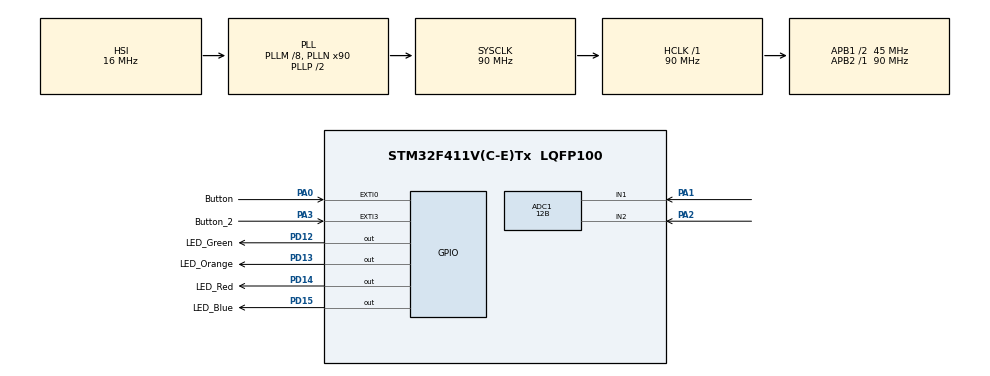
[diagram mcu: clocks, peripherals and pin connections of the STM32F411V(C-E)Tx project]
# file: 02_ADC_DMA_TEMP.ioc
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ADC1.Channel-0\#ChannelRegularConversion=ADC_CHANNEL_TEMPSENSOR
ADC1.Channel-1\#ChannelRegularConversion=ADC_CHANNEL_1
ADC1.Channel-2\#ChannelRegularConversion=ADC_CHANNEL_2
ADC1.ClockPrescaler=ADC_CLOCK_SYNC_PCLK_DIV8
ADC1.ContinuousConvMode=ENABLE
ADC1.DMAContinuousRequests=ENABLE
ADC1.DataAlign=ADC_DATAALIGN_RIGHT
ADC1.DiscontinuousConvMode=DISABLE
ADC1.EOCSelection=ADC_EOC_SINGLE_CONV
ADC1.EnableAnalogWatchDog=false
ADC1.ExternalTrigConv=ADC_SOFTWARE_START
ADC1.ExternalTrigConvEdge=ADC_EXTERNALTRIGCONVEDGE_NONE
ADC1.InjNumberOfConversion=0
ADC1.NbrOfConversion=3
ADC1.NbrOfConversionFlag=1
ADC1.Rank-0\#ChannelRegularConversion=1
ADC1.Rank-1\#ChannelRegularConversion=2
ADC1.Rank-2\#ChannelRegularConversion=3
ADC1.Resolution=ADC_RESOLUTION_12B
ADC1.SamplingTime-0\#ChannelRegularConversion=ADC_SAMPLETIME_480CYCLES
ADC1.SamplingTime-1\#ChannelRegularConversion=ADC_SAMPLETIME_480CYCLES
ADC1.SamplingTime-2\#ChannelRegularConversion=ADC_SAMPLETIME_480CYCLES
ADC1.ScanConvMode=ENABLE
ADC1.master=1
Dma.ADC1.0.Direction=DMA_PERIPH_TO_MEMORY
Dma.ADC1.0.FIFOMode=DMA_FIFOMODE_DISABLE
Dma.ADC1.0.Instance=DMA2_Stream0
Dma.ADC1.0.MemDataAlignment=DMA_MDATAALIGN_HALFWORD
Dma.ADC1.0.MemInc=DMA_MINC_ENABLE
Dma.ADC1.0.Mode=DMA_CIRCULAR
Dma.ADC1.0.PeriphDataAlignment=DMA_PDATAALIGN_HALFWORD
Dma.ADC1.0.PeriphInc=DMA_PINC_DISABLE
Dma.ADC1.0.Priority=DMA_PRIORITY_LOW
Dma.Request0=ADC1
Mcu.Family=STM32F4
Mcu.Name=STM32F411V(C-E)Tx
Mcu.Package=LQFP100
NVIC.DMA2_Stream0_IRQn=true\:0\:0\:false\:false\:true
NVIC.EXTI0_IRQn=true\:0\:0\:false\:false\:true
NVIC.EXTI3_IRQn=true\:0\:0\:false\:false\:true
NVIC.PriorityGroup=NVIC_PRIORITYGROUP_4
NVIC.TIM1_UP_TIM10_IRQn=true\:0\:0\:false\:false\:true
PA0-WKUP.GPIO_Label=Button
PA0-WKUP.GPIO_ModeDefaultEXTI=GPIO_MODE_IT_FALLING
PA0-WKUP.Signal=GPXTI0
PA1.Signal=ADCx_IN1
PA2.Signal=ADCx_IN2
PA3.GPIO_Label=Button_2
PA3.GPIO_ModeDefaultEXTI=GPIO_MODE_IT_FALLING
PA3.Signal=GPXTI3
PD12.GPIO_Label=LED_Green
PD12.Signal=GPIO_Output
PD13.GPIO_Label=LED_Orange
PD13.Signal=GPIO_Output
PD14.GPIO_Label=LED_Red
PD14.Signal=GPIO_Output
PD15.GPIO_Label=LED_Blue
PD15.Signal=GPIO_Output
PH0\ -\ OSC_IN.Mode=HSE-External-Oscillator
PH0\ -\ OSC_IN.Signal=RCC_OSC_IN
PH1\ -\ OSC_OUT.Mode=HSE-External-Oscillator
PH1\ -\ OSC_OUT.Signal=RCC_OSC_OUT
ProjectManager.HeapSize=0x200
ProjectManager.StackSize=0x400
ProjectManager.TargetToolchain=SW4STM32
RCC.48MHZClocksFreq_Value=45000000
RCC.AHBFreq_Value=90000000
RCC.APB1CLKDivider=RCC_HCLK_DIV2
RCC.APB1Freq_Value=45000000
RCC.APB1TimFreq_Value=90000000
RCC.APB2Freq_Value=90000000
RCC.APB2TimFreq_Value=90000000
RCC.CortexFreq_Value=90000000
RCC.HCLKFreq_Value=90000000
RCC.HSE_VALUE=8000000
RCC.HSI_VALUE=16000000
RCC.LSE_VALUE=32768
RCC.PLLM=8
RCC.PLLN=90
RCC.SYSCLKFreq_VALUE=90000000
RCC.SYSCLKSource=RCC_SYSCLKSOURCE_PLLCLK
RCC.VCOOutputFreq_Value=180000000
SH.ADCx_IN1.0=ADC1_IN1,IN1
SH.ADCx_IN2.0=ADC1_IN2,IN2
TIM10.Period=9999
TIM10.Prescaler=2999
VP_ADC1_TempSens_Input.Mode=IN-TempSens
VP_TIM10_VS_ClockSourceINT.Mode=Enable_Timer
board=02_ADC_DMA_TEMP

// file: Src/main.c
/**
  ******************************************************************************
  * File Name          : main.c
  * Description        : Main program body
  ******************************************************************************
  *
  * COPYRIGHT(c) 2017 STMicroelectronics
  *
  * Redistribution and use in source and binary forms, with or without modification,
  * are permitted provided that the following conditions are met:
  *   1. Redistributions of source code must retain the above copyright notice,
  *      this list of conditions and the following disclaimer.
  *   2. Redistributions in binary form must reproduce the above copyright notice,
  *      this list of conditions and the following disclaimer in the documentation
  *      and/or other materials provided with the distribution.
  *   3. Neither the name of STMicroelectronics nor the names of its contributors
  *      may be used to endorse or promote products derived from this software
  *      without specific prior written permission.
  *
  * THIS SOFTWARE IS PROVIDED BY THE COPYRIGHT HOLDERS AND CONTRIBUTORS "AS IS"
  * AND ANY EXPRESS OR IMPLIED WARRANTIES, INCLUDING, BUT NOT LIMITED TO, THE
  * IMPLIED WARRANTIES OF MERCHANTABILITY AND FITNESS FOR A PARTICULAR PURPOSE ARE
  * DISCLAIMED. IN NO EVENT SHALL THE COPYRIGHT HOLDER OR CONTRIBUTORS BE LIABLE
  * FOR ANY DIRECT, INDIRECT, INCIDENTAL, SPECIAL, EXEMPLARY, OR CONSEQUENTIAL
  * DAMAGES (INCLUDING, BUT NOT LIMITED TO, PROCUREMENT OF SUBSTITUTE GOODS OR
  * SERVICES; LOSS OF USE, DATA, OR PROFITS; OR BUSINESS INTERRUPTION) HOWEVER
  * CAUSED AND ON ANY THEORY OF LIABILITY, WHETHER IN CONTRACT, STRICT LIABILITY,
  * OR TORT (INCLUDING NEGLIGENCE OR OTHERWISE) ARISING IN ANY WAY OUT OF THE USE
  * OF THIS SOFTWARE, EVEN IF ADVISED OF THE POSSIBILITY OF SUCH DAMAGE.
  *
  ******************************************************************************
  */
#include "main.h"
#include "stm32f4xx_hal.h"

ADC_HandleTypeDef hadc1;
DMA_HandleTypeDef hdma_adc1;

TIM_HandleTypeDef htim10;

/* USER CODE BEGIN PV */
/* Private variables ---------------------------------------------------------*/
uint8_t ALARM=0;  	// przekroczenie 30*C
uint8_t BUTTON=0; 	// przycisk na plytce
uint8_t BUTTON2=0;	// przyciska Joystick
uint16_t PomiarADC[3];
float Temperature;
float Vsense;

const float V25 = 0.76; // [Volts]
const float Avg_slope = 0.0025; //[Volts/degree]
const float SupplyVoltage = 3.0; // [Volts]
const float ADCResolution = 4096.0;
/* USER CODE END PV */

void SystemClock_Config(void);
void Error_Handler(void);
static void MX_GPIO_Init(void);
static void MX_DMA_Init(void);
static void MX_ADC1_Init(void);
static void MX_TIM10_Init(void);

/* USER CODE BEGIN PFP */
/* Private function prototypes -----------------------------------------------*/
void HAL_ADC_ConvCpltCallback(ADC_HandleTypeDef* hadc);
void HAL_TIM_PeriodElapsedCallback(TIM_HandleTypeDef *htim);
void HAL_GPIO_EXTI_Callback(uint16_t GPIO_Pin);
/* USER CODE END PFP */

int main(void)
{

  /* MCU Configuration----------------------------------------------------------*/

  /* Reset of all peripherals, Initializes the Flash interface and the Systick. */
  HAL_Init();

  /* Configure the system clock */
  SystemClock_Config();

  /* Initialize all configured peripherals */
  MX_GPIO_Init();
  MX_DMA_Init();
  MX_ADC1_Init();
  MX_TIM10_Init();

  /* USER CODE BEGIN 2 */
  HAL_TIM_Base_Start_IT(&htim10);
  HAL_ADC_Start_DMA(&hadc1, PomiarADC, 3);
  /* USER CODE END 2 */

  /* Infinite loop */
  while (1)
  {

  }

}

/** System Clock Configuration
*/
void SystemClock_Config(void)
{

  RCC_OscInitTypeDef RCC_OscInitStruct;
  RCC_ClkInitTypeDef RCC_ClkInitStruct;

    /**Configure the main internal regulator output voltage
    */
  __HAL_RCC_PWR_CLK_ENABLE();

  __HAL_PWR_VOLTAGESCALING_CONFIG(PWR_REGULATOR_VOLTAGE_SCALE1);

    /**Initializes the CPU, AHB and APB busses clocks
    */
  RCC_OscInitStruct.OscillatorType = RCC_OSCILLATORTYPE_HSI;
  RCC_OscInitStruct.HSIState = RCC_HSI_ON;
  RCC_OscInitStruct.HSICalibrationValue = 16;
  RCC_OscInitStruct.PLL.PLLState = RCC_PLL_ON;
  RCC_OscInitStruct.PLL.PLLSource = RCC_PLLSOURCE_HSI;
  RCC_OscInitStruct.PLL.PLLM = 8;
  RCC_OscInitStruct.PLL.PLLN = 90;
  RCC_OscInitStruct.PLL.PLLP = RCC_PLLP_DIV2;
  RCC_OscInitStruct.PLL.PLLQ = 4;
  if (HAL_RCC_OscConfig(&RCC_OscInitStruct) != HAL_OK)
  {
    Error_Handler();
  }

    /**Initializes the CPU, AHB and APB busses clocks
    */
  RCC_ClkInitStruct.ClockType = RCC_CLOCKTYPE_HCLK|RCC_CLOCKTYPE_SYSCLK
                              |RCC_CLOCKTYPE_PCLK1|RCC_CLOCKTYPE_PCLK2;
  RCC_ClkInitStruct.SYSCLKSource = RCC_SYSCLKSOURCE_PLLCLK;
  RCC_ClkInitStruct.AHBCLKDivider = RCC_SYSCLK_DIV1;
  RCC_ClkInitStruct.APB1CLKDivider = RCC_HCLK_DIV2;
  RCC_ClkInitStruct.APB2CLKDivider = RCC_HCLK_DIV1;

  if (HAL_RCC_ClockConfig(&RCC_ClkInitStruct, FLASH_LATENCY_2) != HAL_OK)
  {
    Error_Handler();
  }

    /**Configure the Systick interrupt time
    */
  HAL_SYSTICK_Config(HAL_RCC_GetHCLKFreq()/1000);

    /**Configure the Systick
    */
  HAL_SYSTICK_CLKSourceConfig(SYSTICK_CLKSOURCE_HCLK);

  /* SysTick_IRQn interrupt configuration */
  HAL_NVIC_SetPriority(SysTick_IRQn, 0, 0);
}

/* ADC1 init function */
static void MX_ADC1_Init(void)
{

  ADC_ChannelConfTypeDef sConfig;

    /**Configure the global features of the ADC (Clock, Resolution, Data Alignment and number of conversion)
    */
  hadc1.Instance = ADC1;
  hadc1.Init.ClockPrescaler = ADC_CLOCK_SYNC_PCLK_DIV8;
  hadc1.Init.Resolution = ADC_RESOLUTION_12B;
  hadc1.Init.ScanConvMode = ENABLE;
  hadc1.Init.ContinuousConvMode = ENABLE;
  hadc1.Init.DiscontinuousConvMode = DISABLE;
  hadc1.Init.ExternalTrigConvEdge = ADC_EXTERNALTRIGCONVEDGE_NONE;
  hadc1.Init.ExternalTrigConv = ADC_SOFTWARE_START;
  hadc1.Init.DataAlign = ADC_DATAALIGN_RIGHT;
  hadc1.Init.NbrOfConversion = 3;
  hadc1.Init.DMAContinuousRequests = ENABLE;
  hadc1.Init.EOCSelection = ADC_EOC_SINGLE_CONV;
  if (HAL_ADC_Init(&hadc1) != HAL_OK)
  {
    Error_Handler();
  }

    /**Configure for the selected ADC regular channel its corresponding rank in the sequencer and its sample time.
    */
  sConfig.Channel = ADC_CHANNEL_TEMPSENSOR;
  sConfig.Rank = 1;
  sConfig.SamplingTime = ADC_SAMPLETIME_480CYCLES;
  if (HAL_ADC_ConfigChannel(&hadc1, &sConfig) != HAL_OK)
  {
    Error_Handler();
  }

    /**Configure for the selected ADC regular channel its corresponding rank in the sequencer and its sample time.
    */
  sConfig.Channel = ADC_CHANNEL_1;
  sConfig.Rank = 2;
  if (HAL_ADC_ConfigChannel(&hadc1, &sConfig) != HAL_OK)
  {
    Error_Handler();
  }

    /**Configure for the selected ADC regular channel its corresponding rank in the sequencer and its sample time.
    */
  sConfig.Channel = ADC_CHANNEL_2;
  sConfig.Rank = 3;
  if (HAL_ADC_ConfigChannel(&hadc1, &sConfig) != HAL_OK)
  {
    Error_Handler();
  }

}

/* TIM10 init function */
static void MX_TIM10_Init(void)
{

  htim10.Instance = TIM10;
  htim10.Init.Prescaler = 2999;
  htim10.Init.CounterMode = TIM_COUNTERMODE_UP;
  htim10.Init.Period = 9999;
  htim10.Init.ClockDivision = TIM_CLOCKDIVISION_DIV1;
  if (HAL_TIM_Base_Init(&htim10) != HAL_OK)
  {
    Error_Handler();
  }

}

static void MX_DMA_Init(void)
{
  /* DMA controller clock enable */
  __HAL_RCC_DMA2_CLK_ENABLE();

  /* DMA interrupt init */
  /* DMA2_Stream0_IRQn interrupt configuration */
  HAL_NVIC_SetPriority(DMA2_Stream0_IRQn, 0, 0);
  HAL_NVIC_EnableIRQ(DMA2_Stream0_IRQn);

}

/** Configure pins as
        * Analog
        * Input
        * Output
        * EVENT_OUT
        * EXTI
*/
static void MX_GPIO_Init(void)
{

  GPIO_InitTypeDef GPIO_InitStruct;

  /* GPIO Ports Clock Enable */
  __HAL_RCC_GPIOH_CLK_ENABLE();
  __HAL_RCC_GPIOA_CLK_ENABLE();
  __HAL_RCC_GPIOD_CLK_ENABLE();

  /*Configure GPIO pin Output Level */
  HAL_GPIO_WritePin(GPIOD, LED_Green_Pin|LED_Orange_Pin|LED_Red_Pin|LED_Blue_Pin, GPIO_PIN_RESET);

  /*Configure GPIO pins : Button_Pin Button_2_Pin */
  GPIO_InitStruct.Pin = Button_Pin|Button_2_Pin;
  GPIO_InitStruct.Mode = GPIO_MODE_IT_FALLING;
  GPIO_InitStruct.Pull = GPIO_NOPULL;
  HAL_GPIO_Init(GPIOA, &GPIO_InitStruct);

  /*Configure GPIO pins : LED_Green_Pin LED_Orange_Pin LED_Red_Pin LED_Blue_Pin */
  GPIO_InitStruct.Pin = LED_Green_Pin|LED_Orange_Pin|LED_Red_Pin|LED_Blue_Pin;
  GPIO_InitStruct.Mode = GPIO_MODE_OUTPUT_PP;
  GPIO_InitStruct.Pull = GPIO_NOPULL;
  GPIO_InitStruct.Speed = GPIO_SPEED_FREQ_LOW;
  HAL_GPIO_Init(GPIOD, &GPIO_InitStruct);

  /* EXTI interrupt init*/
  HAL_NVIC_SetPriority(EXTI0_IRQn, 0, 0);
  HAL_NVIC_EnableIRQ(EXTI0_IRQn);

  HAL_NVIC_SetPriority(EXTI3_IRQn, 0, 0);
  HAL_NVIC_EnableIRQ(EXTI3_IRQn);

}

/* USER CODE BEGIN 4 */
void HAL_ADC_ConvCpltCallback(ADC_HandleTypeDef* hadc)
	{
	 Vsense = (SupplyVoltage*PomiarADC[0])/(ADCResolution-1); // Przeliczenie wartosci zmierzonej na napiecie
	 Temperature = ((Vsense-V25)/Avg_slope)+25; // Obliczenie temperatury
	 if(Temperature>30)
		 {HAL_GPIO_WritePin(GPIOD, LED_Green_Pin|LED_Orange_Pin|LED_Red_Pin|LED_Blue_Pin, GPIO_PIN_RESET);
		 ALARM=1;}
	 else
 	 	 {
		 ALARM=0;
		 if(BUTTON2==0)
			 {
			 //________ Prawo-lewo
			 if(PomiarADC[1]<1000)
				 {HAL_GPIO_WritePin(LED_Red_GPIO_Port,LED_Red_Pin,SET);}

			 else if(PomiarADC[1]>=1000)
				 {HAL_GPIO_WritePin(LED_Red_GPIO_Port,LED_Red_Pin,RESET);}

			 if(PomiarADC[1]>3000)
				 {HAL_GPIO_WritePin(LED_Green_GPIO_Port,LED_Green_Pin,SET);}

			 else if(PomiarADC[1]<=3000)
				 {HAL_GPIO_WritePin(LED_Green_GPIO_Port,LED_Green_Pin,RESET);}
			 //_________Gora-dol
			 if(PomiarADC[2]<1000)
				 {HAL_GPIO_WritePin(LED_Blue_GPIO_Port,LED_Blue_Pin,SET);}

			 else if(PomiarADC[2]>=1000)
				 {HAL_GPIO_WritePin(LED_Blue_GPIO_Port,LED_Blue_Pin,RESET);}

			 if(PomiarADC[2]>3000)
				 {HAL_GPIO_WritePin(LED_Orange_GPIO_Port,LED_Orange_Pin,SET);}

			 else if(PomiarADC[2]<=3000)
				 {HAL_GPIO_WritePin(LED_Orange_GPIO_Port,LED_Orange_Pin,RESET);}
			 }
		 if(BUTTON2==1)
		 	 {
			 //________ Prawo-lewo
			 if(PomiarADC[1]>3000)
				 {HAL_GPIO_WritePin(LED_Red_GPIO_Port,LED_Red_Pin,SET);}

			 else if(PomiarADC[1]<=3000)
				 {HAL_GPIO_WritePin(LED_Red_GPIO_Port,LED_Red_Pin,RESET);}

			 if(PomiarADC[1]<=1000)
				 {HAL_GPIO_WritePin(LED_Green_GPIO_Port,LED_Green_Pin,SET);}

			 else if(PomiarADC[1]>=1000)
				 {HAL_GPIO_WritePin(LED_Green_GPIO_Port,LED_Green_Pin,RESET);}
			 //_________Gora-dol
			 if(PomiarADC[2]>3000)
				 {HAL_GPIO_WritePin(LED_Blue_GPIO_Port,LED_Blue_Pin,SET);}

			 else if(PomiarADC[2]<=3000)
				 {HAL_GPIO_WritePin(LED_Blue_GPIO_Port,LED_Blue_Pin,RESET);}

			 if(PomiarADC[2]<1000)
				 {HAL_GPIO_WritePin(LED_Orange_GPIO_Port,LED_Orange_Pin,SET);}

			 else if(PomiarADC[2]>=1000)
				 {HAL_GPIO_WritePin(LED_Orange_GPIO_Port,LED_Orange_Pin,RESET);}
		 	 }
 	 	 }

	}

void HAL_TIM_PeriodElapsedCallback(TIM_HandleTypeDef *htim)
	{
	 if(htim->Instance == TIM10)// Je¿eli przerwanie pochodzi od timera 10
		 {
		 if( (ALARM==1) && (BUTTON==0) )
			 {
			 HAL_GPIO_TogglePin(LED_Blue_GPIO_Port, LED_Blue_Pin);
			 HAL_GPIO_TogglePin(LED_Orange_GPIO_Port, LED_Orange_Pin);
			 HAL_GPIO_TogglePin(LED_Red_GPIO_Port, LED_Red_Pin);
			 HAL_GPIO_TogglePin(LED_Green_GPIO_Port, LED_Green_Pin);
			 }
		 else if( (ALARM==0) || (BUTTON==1) )
		 	 {
			 if(BUTTON==1)
			 	 {HAL_GPIO_WritePin(GPIOD, LED_Green_Pin|LED_Orange_Pin|LED_Red_Pin|LED_Blue_Pin, GPIO_PIN_RESET);}
			 if(ALARM==0)
			 	 {BUTTON=0;}

		 	 }
		 }
	}
void HAL_GPIO_EXTI_Callback(uint16_t GPIO_Pin) //obsluga przyciskow
	{
	if(GPIO_Pin == Button_Pin)
		{BUTTON=1;}
	else if(GPIO_Pin == Button_2_Pin)
			{
			if(BUTTON2==0)
				{BUTTON2=1;}
			else if(BUTTON2==1)
				{BUTTON2=0;}
			}
	}
/* USER CODE END 4 */

void Error_Handler(void)
{
  while(1)
  {
  }
}

/************************ (C) COPYRIGHT STMicroelectronics *****END OF FILE****/
